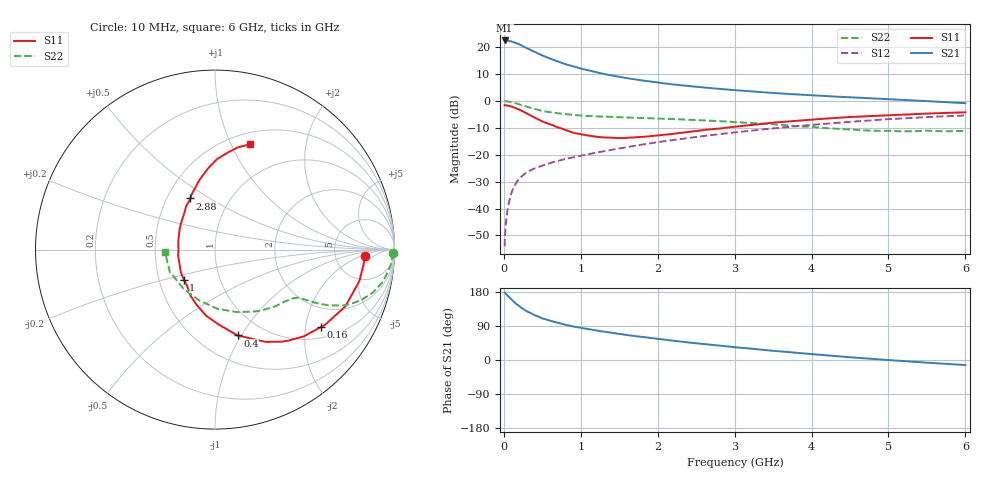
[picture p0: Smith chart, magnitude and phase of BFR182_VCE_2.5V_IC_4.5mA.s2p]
! Infineon Technologies  Discrete & RF Semiconductors
! BFR182
! VCE =  2.5 V,  IC =  4.5 mA
! Common Emitter S-Parameters:  Nov 2015
# GHz  S  MA  R  50
!  f  S11  S21  S12  S22
! GHz  MAG  ANG  MAG  ANG  MAG  ANG  MAG  ANG
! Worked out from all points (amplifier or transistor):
!   210 points, 10 MHz to 6 GHz, reference 50 ohm
!   highest |S21| = 22.5 dB at 10 MHz (marker M1)
!   |S21| within 3 dB of that: start of sweep to 307.9 MHz
!   unconditionally stable (mu >= 1): 1.106 GHz to 2.869 GHz
!   at 185 MHz: K = 0.32, MSG = 25.4 dB, |S12| = -29.5 dB
!   at 1.52 GHz: K = 1.06, MAG = 11.7 dB, |S12| = -17.5 dB
!   at 6 GHz: K = 0.89, MSG = 2.3 dB, |S12| = -5.4 dB
!   S11 on the Smith chart (normalised r, x): 10 MHz: 10, -3; 160 MHz: 1.31, -2.43; 400 MHz: 0.76, -0.96; 1 GHz: 0.67, -0.24; 2.88 GHz: 0.65, +0.41; 6 GHz: 0.62, +1.18
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0.01  0.8346 -2.5  13.35 178.0  0.002 89.5  0.9911 -1.1
0.02  0.8334 -4.8  13.17 175.6  0.004 87.1  0.9894 -2.2
0.05  0.8238 -12.2  13.27 169.6  0.0099 85.3  0.9809 -5.5
0.1  0.7923 -23.5  12.79 159.8  0.0198 77.4  0.9535 -10.7
0.15  0.7428 -34.3  12.06 149.9  0.0286 72.2  0.9133 -15.1
0.16  0.7309 -36.2  11.9 148.3  0.03 71.2  0.9036 -15.8
0.2  0.6918 -44.3  11.35 141.7  0.0358 68.2  0.8664 -18.7
0.26  0.6302 -54.6  10.23 133.4  0.0429 64.9  0.8134 -21.9
0.3  0.586 -61.3  9.569 128.4  0.0474 63.7  0.7818 -23.4
0.4  0.4943 -75.3  8.229 118.4  0.0558 60.0  0.7104 -26.0
0.5  0.4165 -87.5  7.02 109.8  0.0628 58.9  0.6552 -27.4
0.6  0.3703 -98.0  6.131 103.6  0.0702 58.1  0.6184 -28.2
0.8  0.2912 -117.9  4.845 93.0  0.0835 58.4  0.5699 -29.1
1  0.2415 -136.2  4.022 84.7  0.0956 59.8  0.5372 -30.0
1.02  0.2383 -138.1  3.958 84.0  0.0971 59.8  0.5351 -30.1
1.4  0.2083 -171.3  2.979 71.8  0.1239 60.8  0.5058 -33.2
2.02  0.2306 148.2  2.182 55.3  0.1732 60.4  0.471 -40.3
2.88  0.3165 115.9  1.644 36.4  0.2497 55.9  0.4164 -55.2
3.1  0.3438 110.9  1.552 32.1  0.2703 54.1  0.3986 -60.2
4.1  0.4615 93.8  1.254 13.9  0.3695 44.4  0.3203 -91.3
5.1  0.551 81.7  1.066 -1.5  0.4678 32.0  0.2752 -134.9
6  0.6168 71.8  0.911 -13.3  0.5379 19.0  0.2785 -177.0
